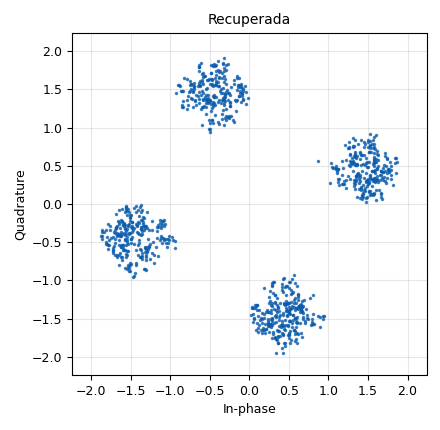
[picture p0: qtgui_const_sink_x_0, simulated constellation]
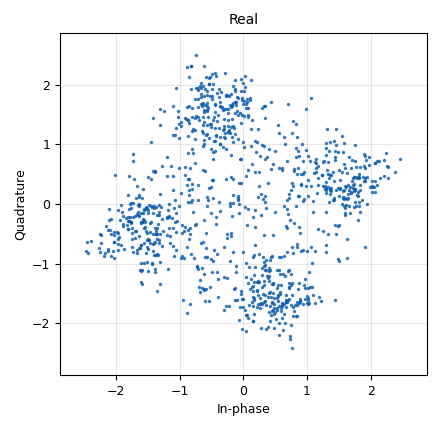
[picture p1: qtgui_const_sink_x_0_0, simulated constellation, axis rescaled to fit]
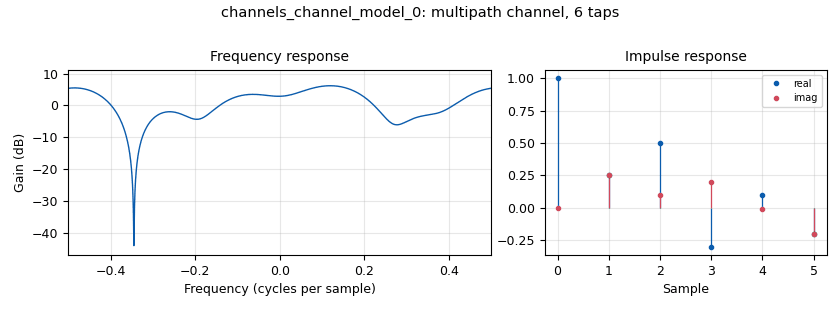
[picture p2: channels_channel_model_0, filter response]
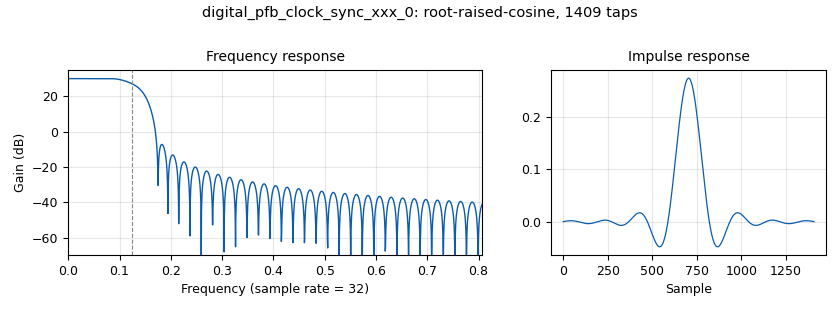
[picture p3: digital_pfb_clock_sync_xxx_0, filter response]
options:
  parameters:
    author: Juan David Barrero
    generate_options: qt_gui
    id: SIS
    output_language: python
    title: SIS
  states: {}

blocks:
- name: arity
  id: variable
  parameters:
    value: '4'
  states: {}
- name: freq_offset
  id: variable_qtgui_range
  parameters:
    label: freq offset
    orient: Qt.Horizontal
    start: '-100e-3'
    step: '1e-3'
    stop: '0.1'
    value: '0'
  states: {}
- name: nfilts
  id: variable
  parameters:
    value: '32'
  states: {}
- name: noise_offset
  id: variable_qtgui_range
  parameters:
    label: noise
    orient: Qt.Horizontal
    start: '0'
    step: '10e-3'
    stop: '1'
    value: '100e-6'
  states: {}
- name: rrc_taps
  id: variable
  parameters:
    value: firdes.root_raised_cosine(nfilts, nfilts, 1.0/float(sps), 0.35, 11*sps*nfilts)
  states: {}
- name: samp_rate
  id: variable
  parameters:
    value: '32000'
  states: {}
- name: sps
  id: variable
  parameters:
    value: '4'
  states: {}
- name: taps
  id: variable
  parameters:
    value: '[1,0.25+0.25j,0.5+0.1j,-0.3+0.2j,0.1-0.01j,-0.2-0.2j]'
  states: {}
- name: taps_0
  id: variable
  parameters:
    value: '[1.0 + 0.0j, ]'
  states: {}
- name: time_offset
  id: variable_qtgui_range
  parameters:
    label: time offset
    orient: Qt.Horizontal
    start: '0.999'
    step: '0.0001'
    stop: '1.001'
    value: '1'
  states: {}
- name: timing_loop_bw
  id: variable_qtgui_range
  parameters:
    label: timing_loop
    orient: Qt.Horizontal
    start: '0'
    step: '5e-3'
    stop: '200e-3'
    value: '62.8e-3'
  states: {}
- name: analog_random_source_x_0
  id: analog_random_source_x
  parameters:
    max: '256'
    min: '0'
    num_samps: '1000'
    repeat: 'True'
    type: byte
  states: {}
- name: blocks_throttle_0
  id: blocks_throttle
  parameters:
    samples_per_second: samp_rate
    type: complex
  states: {}
- name: channels_channel_model_0
  id: channels_channel_model
  parameters:
    epsilon: time_offset
    freq_offset: freq_offset
    noise_voltage: noise_offset
    seed: '0'
    taps: taps
  states: {}
- name: digital_pfb_clock_sync_xxx_0
  id: digital_pfb_clock_sync_xxx
  parameters:
    filter_size: nfilts
    init_phase: nfilts/2
    loop_bw: timing_loop_bw
    max_dev: '1.5'
    osps: '1'
    sps: sps
    taps: rrc_taps
    type: ccf
  states: {}
- name: digital_psk_mod_0
  id: digital_psk_mod
  parameters:
    constellation_points: '4'
    differential: 'False'
    excess_bw: '0.35'
    mod_code: '"gray"'
    samples_per_symbol: '4'
  states: {}
- name: qtgui_const_sink_x_0
  id: qtgui_const_sink_x
  parameters:
    autoscale: 'True'
    grid: 'True'
    name: '"Recuperada"'
    size: '1024'
    type: complex
  states: {}
- name: qtgui_const_sink_x_0_0
  id: qtgui_const_sink_x
  parameters:
    grid: 'True'
    name: '"Real"'
    size: '1024'
    type: complex
  states: {}
- name: qtgui_const_sink_x_0_0_0
  id: qtgui_const_sink_x
  parameters:
    grid: 'True'
    name: '"Real"'
    size: '1024'
    type: complex
  states: {state: disabled}

connections:
- [analog_random_source_x_0, '0', digital_psk_mod_0, '0']
- [blocks_throttle_0, '0', channels_channel_model_0, '0']
- [blocks_throttle_0, '0', qtgui_const_sink_x_0_0_0, '0']
- [channels_channel_model_0, '0', digital_pfb_clock_sync_xxx_0, '0']
- [channels_channel_model_0, '0', qtgui_const_sink_x_0_0, '0']
- [digital_pfb_clock_sync_xxx_0, '0', qtgui_const_sink_x_0, '0']
- [digital_psk_mod_0, '0', blocks_throttle_0, '0']

metadata:
  file_format: 1
